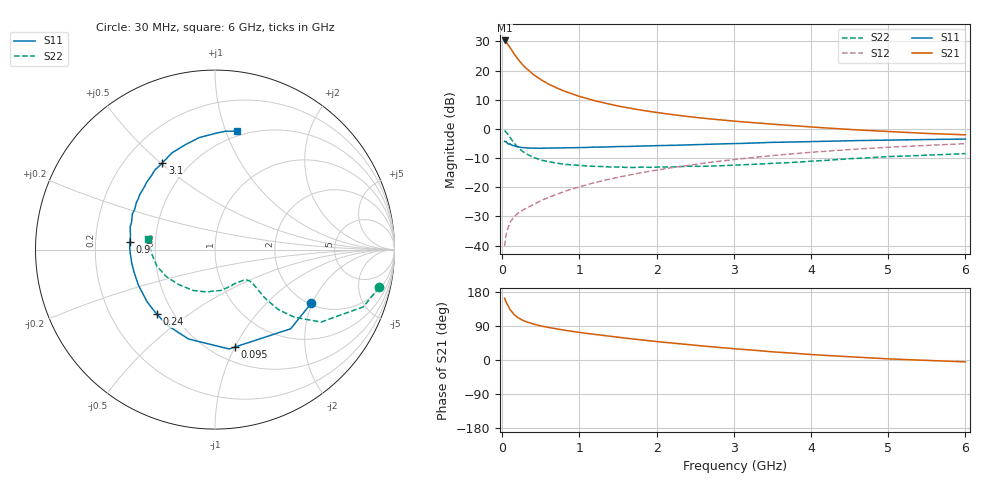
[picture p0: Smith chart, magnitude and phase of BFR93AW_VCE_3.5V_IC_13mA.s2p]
! Infineon Technologies  Discrete & RF Semiconductors
! BFR93AW
! VCE =  3.5 V,  IC =  13 mA
! Common Emitter S-Parameters:  Nov 2015
# GHz  S  MA  R  50
!  f  S11  S21  S12  S22
! GHz  MAG  ANG  MAG  ANG  MAG  ANG  MAG  ANG
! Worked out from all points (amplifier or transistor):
!   206 points, 30 MHz to 6 GHz, reference 50 ohm
!   highest |S21| = 30.3 dB at 30 MHz (marker M1)
!   |S21| within 3 dB of that: start of sweep to 114.8 MHz
!   unconditionally stable (mu >= 1): 666.6 MHz to 2.253 GHz
!   at 200 MHz: K = 0.58, MSG = 26.5 dB, |S12| = -29.0 dB
!   at 1.56 GHz: K = 1.05, MAG = 10.5 dB, |S12| = -16.2 dB
!   at 6 GHz: K = 0.91, MSG = 1.5 dB, |S12| = -5.0 dB
!   S11 on the Smith chart (normalised r, x): 30 MHz: 2.04, -1.96; 95 MHz: 0.64, -1.00; 240 MHz: 0.41, -0.38; 900 MHz: 0.36, +0.04; 3.1 GHz: 0.36, +0.51; 6 GHz: 0.46, +1.10
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0.03  0.6138 -29.2  32.91 163.2  0.0098 76.2  0.9381 -12.9
0.05  0.6101 -46.3  31.25 152.2  0.0156 71.0  0.8859 -21.1
0.095  0.5538 -78.3  25.47 135.0  0.0239 60.8  0.7311 -32.7
0.1  0.559 -82.0  25.01 132.7  0.0249 60.1  0.7162 -34.3
0.15  0.5195 -106.5  19.57 120.2  0.0309 55.7  0.5794 -40.5
0.2  0.4985 -122.2  15.86 112.0  0.0356 53.8  0.4884 -43.4
0.24  0.4838 -131.8  13.68 107.4  0.0387 54.7  0.4368 -43.9
0.26  0.4803 -136.0  12.76 105.2  0.0402 55.1  0.4156 -44.0
0.3  0.4768 -142.9  11.22 101.5  0.0432 56.0  0.3826 -44.1
0.4  0.4705 -155.5  8.614 94.9  0.0503 59.3  0.326 -42.9
0.5  0.468 -164.4  7.004 89.7  0.0591 61.3  0.293 -42.2
0.6  0.4699 -170.6  5.881 85.7  0.0669 62.8  0.2743 -41.7
0.7  0.4717 -176.3  5.09 82.1  0.0756 64.6  0.2611 -42.1
0.9  0.4767 174.8  3.998 75.7  0.0934 66.2  0.2434 -43.9
1.04  0.479 169.8  3.489 71.7  0.1057 67.0  0.235 -46.4
1.2  0.4894 164.8  3.042 67.4  0.12 67.2  0.2293 -49.7
1.5  0.5015 156.7  2.474 60.0  0.1489 66.7  0.2229 -57.0
2.02  0.5195 143.5  1.9 48.3  0.1994 64.4  0.2233 -72.1
3.1  0.5656 121.2  1.331 28.3  0.3089 55.9  0.2418 -104.4
4.1  0.6121 103.8  1.061 13.3  0.4076 45.6  0.2848 -139.2
5.1  0.6473 89.9  0.891 2.2  0.4937 34.4  0.3392 -167.0
6  0.6712 79.3  0.794 -5.0  0.5601 24.5  0.3786 170.8
